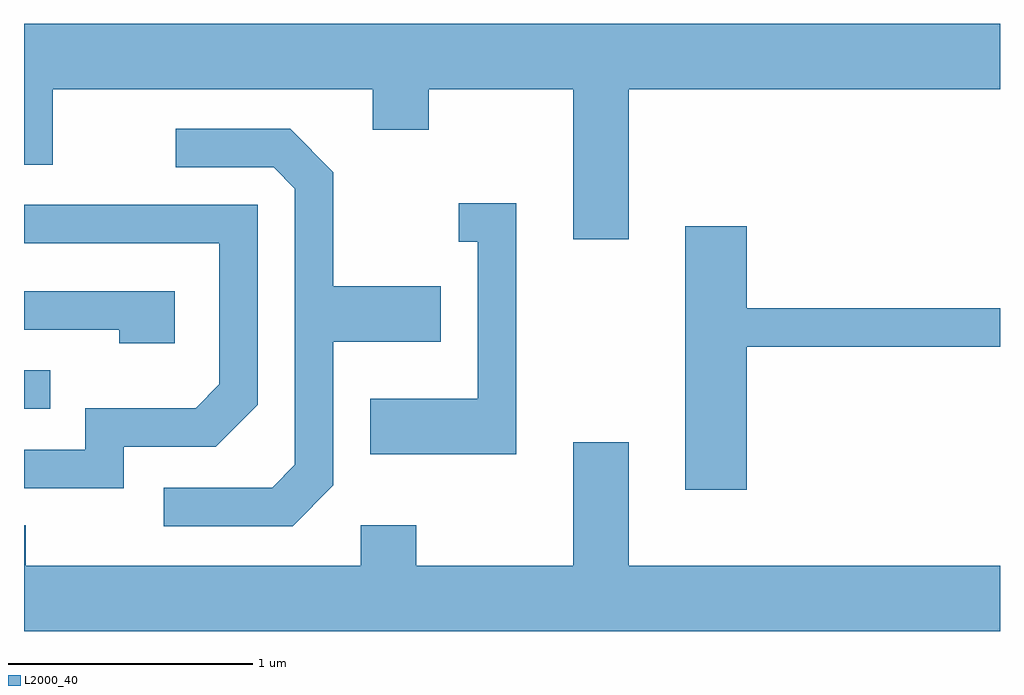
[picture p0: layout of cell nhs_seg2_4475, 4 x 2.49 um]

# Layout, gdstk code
import gdstk
lib = gdstk.Library(unit=1e-6, precision=1e-09)
def R(c, l, rs):  # rectangles x0, y0, x1, y1
    for r in rs: c.add(gdstk.rectangle(r[:2], r[2:], *l))
def P(c, l, *ps):  # polygons
    for p in ps: c.add(gdstk.Polygon(p, *l))
L2000_40 = (2000, 40)

nhs_seg2_4475 = lib.new_cell('nhs_seg2_4475')
R(nhs_seg2_4475, L2000_40, [(317.611,989.286,317.718,989.444)])
P(nhs_seg2_4475, L2000_40, [(320.089,990.596),(321.611,990.596),(321.611,990.864),(317.611,990.864),(317.611,990.286),(317.729,990.286),(317.729,990.596),(319.041,990.596),(319.041,990.431),(319.269,990.431),(319.269,990.596),(319.861,990.596),(319.861,989.981),(320.089,989.981)],
  [(318.879,988.974),(318.879,989.561),(319.319,989.561),(319.319,989.789),(318.879,989.789),(318.879,990.257),(318.702,990.434),(318.233,990.434),(318.233,990.276),(318.634,990.276),(318.721,990.189),(318.721,989.057),(318.629,988.964),(318.183,988.964),(318.183,988.806),(318.712,988.806)],
  [(319.629,990.129),(319.393,990.129),(319.393,989.971),(319.471,989.971),(319.471,989.329),(319.031,989.329),(319.031,989.101),(319.629,989.101)],
  [(318.019,989.131),(318.397,989.131),(318.569,989.304),(318.569,990.124),(317.611,990.124),(317.611,989.966),(318.411,989.966),(318.411,989.387),(318.314,989.289),(317.861,989.289),(317.861,989.119),(317.611,989.119),(317.611,988.961),(318.019,988.961)],
  [(320.574,989.541),(321.611,989.541),(321.611,989.699),(320.574,989.699),(320.574,990.034),(320.321,990.034),(320.321,988.956),(320.574,988.956)],
  [(318.229,989.769),(317.611,989.769),(317.611,989.611),(318.001,989.611),(318.001,989.556),(318.229,989.556)],
  [(321.611,988.644),(320.089,988.644),(320.089,989.149),(319.861,989.149),(319.861,988.644),(319.219,988.644),(319.219,988.809),(318.991,988.809),(318.991,988.644),(317.619,988.644),(317.619,988.809),(317.611,988.809),(317.611,988.376),(321.611,988.376)])

lib.write_gds('nhs_seg2_4475.gds')
